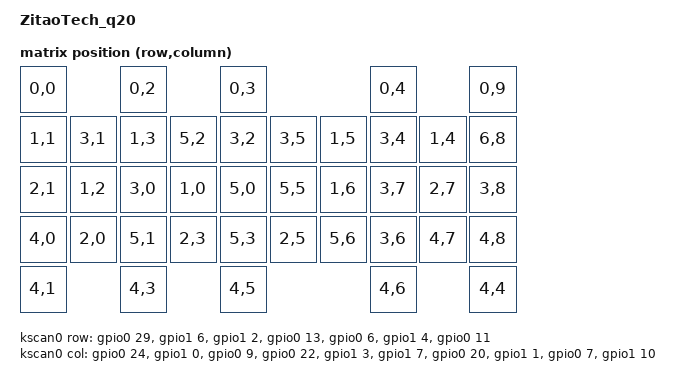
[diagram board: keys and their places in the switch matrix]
/*
 * Copyright (c) 2023 ZitaoTech
 *
 * SPDX-License-Identifier: MIT
 */

/dts-v1/;
#include <nordic/nrf52840_qiaa.dtsi>

#include <dt-bindings/led/led.h>
#include <dt-bindings/zmk/matrix_transform.h>
#include "zitaotech_q20-layouts.dtsi"


/ {
    model = "ZitaoTech_q20";
    compatible = "ZitaoTech,ZitaoTech_q20";

    chosen {
        zephyr,code-partition = &code_partition;
        zephyr,sram = &sram0;
        zephyr,flash = &flash0;
        zephyr,console = &cdc_acm_uart;
        zmk,battery = &vbatt;
        zmk,kscan = &kscan0;
        zmk,physical-layouts = &zitaotech_q20_layout;
        zmk,keyboard_backlight = &keyboard_backlight;
        zmk,trackpad_led = &trackpad_led;
        zmk,backlight = &backlight;
        zmk,studio-rpc-uart = &cdc_acm_uart; // ✅      to enable ZMK Studio
    };


    backlight: pwmleds {
        compatible = "pwm-leds";
        pwm_led_0 {
            pwms = <&pwm0 0 PWM_USEC(20) PWM_POLARITY_NORMAL>;
        };
        pwm_led_1 {
            pwms = <&pwm1 0 PWM_MSEC(10) PWM_POLARITY_NORMAL>;
        };
    };

    keyboard_backlight: pwmledfo{
        compatible = "pwm-leds";
        pwm_led_0 {
            pwms = <&pwm2 0 PWM_USEC(20) PWM_POLARITY_NORMAL>;
        };
    };
    trackpad_led: pwmledo{
        compatible = "pwm-leds";
        pwm_led_0 {
            pwms = <&pwm3 0 PWM_USEC(20) PWM_POLARITY_NORMAL>;
        };
    };

    default_transform: keymap_transform_0 {
        compatible = "zmk,matrix-transform";
        columns = <10>;
        rows = <7>;
        map = <
RC(0,0)          RC(0,2)             RC(0,3)             RC(0,4)          RC(0,9)
RC(1,1)  RC(3,1) RC(1,3) RC(5,2) RC(3,2) RC(3,5) RC(1,5) RC(3,4) RC(1,4)  RC(6,8)
RC(2,1)  RC(1,2) RC(3,0) RC(1,0) RC(5,0) RC(5,5) RC(1,6) RC(3,7) RC(2,7)  RC(3,8)
RC(4,0)  RC(2,0) RC(5,1) RC(2,3) RC(5,3) RC(2,5) RC(5,6) RC(3,6) RC(4,7)  RC(4,8)
RC(4,1)          RC(4,3)             RC(4,5)             RC(4,6)          RC(4,4)
        >; 
    };

    kscan0: kscan {
        compatible = "zmk,kscan-gpio-matrix";
        diode-direction = "col2row";
        row-gpios
            = <&gpio0 29 (GPIO_ACTIVE_HIGH | GPIO_PULL_DOWN)>
            , <&gpio1 6  (GPIO_ACTIVE_HIGH | GPIO_PULL_DOWN)>
            , <&gpio1 2 (GPIO_ACTIVE_HIGH | GPIO_PULL_DOWN)>
            , <&gpio0 13  (GPIO_ACTIVE_HIGH | GPIO_PULL_DOWN)>
            , <&gpio0 6  (GPIO_ACTIVE_HIGH | GPIO_PULL_DOWN)>
            , <&gpio1 4 (GPIO_ACTIVE_HIGH | GPIO_PULL_DOWN)>
            , <&gpio0 11 (GPIO_ACTIVE_HIGH | GPIO_PULL_DOWN)>
            ;
        col-gpios
            = <&gpio0 24  GPIO_ACTIVE_HIGH>
            , <&gpio1 0  GPIO_ACTIVE_HIGH>
            , <&gpio0 9  GPIO_ACTIVE_HIGH>
            , <&gpio0 22 GPIO_ACTIVE_HIGH>
            , <&gpio1 3 GPIO_ACTIVE_HIGH>
            , <&gpio1 7 GPIO_ACTIVE_HIGH>
            , <&gpio0 20 GPIO_ACTIVE_HIGH>
            , <&gpio1 1 GPIO_ACTIVE_HIGH>
            , <&gpio0 7 GPIO_ACTIVE_HIGH>
            , <&gpio1 10 GPIO_ACTIVE_HIGH>
            ;
    };

    leds {
        compatible = "gpio-leds";
        blue_led: led_0 {
            gpios = <&gpio0 10 GPIO_ACTIVE_HIGH>;
        };
    };

    // Node name must match original "EXT_POWER" label to preserve user settings.
    EXT_POWER {
        compatible = "zmk,ext-power-generic";
        control-gpios = <&gpio1 15 GPIO_ACTIVE_LOW>;
    };

    vbatt: vbatt {
        compatible = "zmk,battery-voltage-divider";
        io-channels = <&adc 2>;
        output-ohms = <2000000>;
        full-ohms = <2820000>;  // 2000000 + 820000
    };
};

&adc {
    status = "okay";
};

&gpiote {
    status = "okay";
};

&gpio0 {
    status = "okay";
};

&gpio1 {
    status = "okay";
};

&pwm0 {
    status = "okay";
    pinctrl-0 = <&pwm0_default>;
    pinctrl-1 = <&pwm0_sleep>;
    pinctrl-names = "default", "sleep";
};

&pwm1 {
    status = "okay";
    pinctrl-0 = <&pwm1_default>;
    pinctrl-1 = <&pwm1_sleep>;
    pinctrl-names = "default", "sleep";
};

&pwm2 {
    status = "okay";
    pinctrl-0 = <&pwm2_default>;
    pinctrl-1 = <&pwm2_sleep>;
    pinctrl-names = "default", "sleep";
};

&pwm3 {
    status = "okay";
    pinctrl-0 = <&pwm3_default>;
    pinctrl-1 = <&pwm3_sleep>;
    pinctrl-names = "default", "sleep";
};


&usbd {
    status = "okay";
    cdc_acm_uart: cdc_acm_uart {
        compatible = "zephyr,cdc-acm-uart";
    };
};

&zitaotech_q20_layout{
	transform = <&default_transform>;
	kscan = <&kscan0>;
}; 

zephyr_udc0: &usbd { 
    compatible = "nordic,nrf-usbd"; 
    status = "okay"; 
};

&i2c0 {
    status = "okay";
    compatible = "nordic,nrf-twim";
    clock-frequency = <I2C_BITRATE_FAST>; 
    pinctrl-0 = <&i2c0_default>;
    pinctrl-1 = <&i2c0_sleep>;
    pinctrl-names = "default", "sleep";

    bbtrackpad: a320@3b {
        compatible = "avago,a320";
        reg = <0x3b>;
        status = "okay";
    };
};

/ {
    bbtrackpad_inputs {
        #address-cells = <1>;
        #size-cells = <0>;

    };
    bbtrackpad_listener: bbtrackpad_listener {
        compatible = "zmk,input-listener";
        status = "disabled";
        device = <&bbtrackpad>;
    };
};

&bbtrackpad_listener {
    status = "okay";
};

 

&pinctrl {
    i2c0_default: i2c0_default {
        group1 {
            psels = <NRF_PSEL(TWIM_SDA, 0, 23)>,
                <NRF_PSEL(TWIM_SCL, 0, 25)>;
        };
    };

    i2c0_sleep: i2c0_sleep {
        group1 {
            psels = <NRF_PSEL(TWIM_SDA, 0, 23)>,
                <NRF_PSEL(TWIM_SCL, 0, 25)>;
            low-power-enable;
        };
    };

    pwm0_default:pwm0_default{
        group1{
            psels = <NRF_PSEL(PWM_OUT0, 1, 13)>;      //keyboard backlight
        };
    };

    pwm0_sleep: pwm0_sleep {
        group1 {
            psels = <NRF_PSEL(PWM_OUT0, 1, 13)>;      //keyboard backlight
            bias-pull-down;
        };
    };
    pwm1_default:pwm1_default{
        group1{
            psels = <NRF_PSEL(PWM_OUT0, 0, 17)>;      //keyboard backlight/Set2
        };
    };

    pwm1_sleep: pwm1_sleep {
        group1 {
            psels = <NRF_PSEL(PWM_OUT0, 0, 17)>;      //keyboard backlight/Set2
            bias-pull-down;
        };
    };
    pwm2_default:pwm2_default{
        group1{
            psels = <NRF_PSEL(PWM_OUT0, 0, 15)>; // Backlight for Layer
        };
    };

    pwm2_sleep: pwm2_sleep {
        group1 {
            psels = <NRF_PSEL(PWM_OUT0, 0, 15)>;  // Backlight for Layer
            bias-pull-down;
        };
    };

    pwm3_default: pwm3_default {
        group1 {
            psels = <NRF_PSEL(PWM_OUT0, 0, 10)>; // Backlight for trackpad
        };
    };

    pwm3_sleep: pwm3_sleep {                    
        group1 {
            psels = <NRF_PSEL(PWM_OUT0, 0, 10)>;   // Backlight for trackpad
            bias-pull-down;
        };
    };


};


&flash0 {
    /*
     * For more information, see:
     * http://docs.zephyrproject.org/latest/devices/dts/flash_partitions.html
     */
    partitions {
        compatible = "fixed-partitions";
        #address-cells = <1>;
        #size-cells = <1>;

        sd_partition: partition@0 {
            reg = <0x00000000 0x00001000>;
        };

        code_partition: partition@1000 {
            reg = <0x00001000 0x000d3000>;
        };

        /*
         * The flash starting at 0x000d4000 and ending at
         * 0x000f3fff is reserved for use by the application.
         */

        /*
         * Storage partition will be used by FCB/LittleFS/NVS
         * if enabled.
         */
        storage_partition: partition@d4000 {
            reg = <0x000d4000 0x00020000>;
        };

        boot_partition: partition@f4000 {
            reg = <0x000f4000 0x0000c000>;
        };
    };
};
